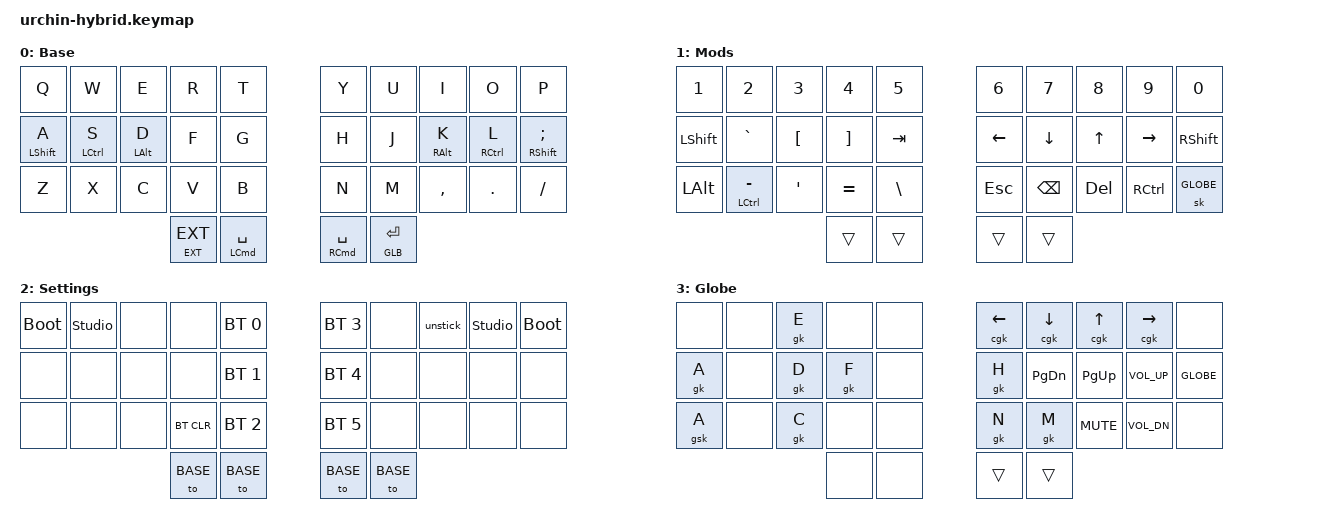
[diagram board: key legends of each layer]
/*
 * Hybrid Urchin + Voyager Keymap
 * Combines Urchin ZMK base with Voyager QMK combos and features
 *
 * Changes from original Urchin:
 * - Added Y+U = Backspace combo
 * - Added R+T = Tab combo
 * - Added F+G = Escape combo
 * - Added H+J = Enter combo
 * - Added GLOBE layer: Apple's documented Globe shortcuts as macros,
 *   reached by holding the right outer thumb
 * - Positional home-row mods so same-hand rolls can't fire modifiers
 */

#include <behaviors.dtsi>
#include <dt-bindings/zmk/keys.h>
#include <dt-bindings/zmk/bt.h>
#include <dt-bindings/zmk/outputs.h>

// Layer definitions
#define BASE 0
#define EXT 1
#define SETTINGS 2
// NB: not "GLOBE" -- that name is already the Apple Globe keycode in
// keys.h, and redefining it turns every &kp GLOBE into &kp 3.
#define GLB 3
// -----------------

// Key position groups, used for positional hold-taps.
//
//   0  1  2  3  4     5  6  7  8  9
//  10 11 12 13 14    15 16 17 18 19
//  20 21 22 23 24    25 26 27 28 29
//           30 31    32 33
//
#define KEYS_L 0 1 2 3 4 10 11 12 13 14 20 21 22 23 24
#define KEYS_R 5 6 7 8 9 15 16 17 18 19 25 26 27 28 29
#define THUMBS 30 31 32 33

&sk {
	// don't release mods on other mods presses
	ignore-modifiers;
};


/ {
	behaviors {
		// Enables holding the first mod-tap key
		// by performing a tap-release-hold sequence.
		// To use it: "&qt KEYCODE1 KEYCODE2"
		//
		// "balanced" + require-prior-idle-ms is deliberate: with the old
		// "hold-preferred" setting, rolling off a thumb into the next letter
		// (e.g. space -> W) resolved as a *hold* and fired CMD+W. Balanced only
		// resolves to hold when the other key is released first, and
		// require-prior-idle-ms forces a plain tap while you are mid-flow.
		qt: quick_tap {
			compatible = "zmk,behavior-hold-tap";
			label = "QUICK_TAP";
			#binding-cells = <2>;
			flavor = "balanced";
			tapping-term-ms = <200>;
			quick-tap-ms = <200>;
			require-prior-idle-ms = <125>;
			bindings = <&kp>, <&kp>;
		};

		// Globe key. Hold it for the Globe layer, tap it for ENTER.
		// "hold-preferred" and no require-prior-idle-ms: this key exists to be
		// chorded, so it must engage the layer the instant the next key goes
		// down. Rolling off ENTER into another key is rare enough to be worth it.
		glt: globe_layer_tap {
			compatible = "zmk,behavior-hold-tap";
			label = "GLOBE_LAYER_TAP";
			#binding-cells = <2>;
			flavor = "hold-preferred";
			tapping-term-ms = <200>;
			quick-tap-ms = <200>;
			bindings = <&mo>, <&kp>;
		};

		// Home-row mods, left hand. Only triggers the hold (modifier) when the
		// *next* key is on the other half or a thumb, so same-hand rolls like
		// "as" / "sd" can never turn into SHIFT+S / CTRL+D.
		// hold-trigger-on-release still lets you stack two same-hand mods
		// (e.g. A+S+<right hand key> = CTRL+SHIFT+key).
		hml: home_row_mod_left {
			compatible = "zmk,behavior-hold-tap";
			label = "HOME_ROW_MOD_LEFT";
			#binding-cells = <2>;
			flavor = "balanced";
			tapping-term-ms = <220>;
			quick-tap-ms = <175>;
			require-prior-idle-ms = <150>;
			hold-trigger-key-positions = <KEYS_R THUMBS>;
			hold-trigger-on-release;
			bindings = <&kp>, <&kp>;
		};

		// Home-row mods, right hand.
		hmr: home_row_mod_right {
			compatible = "zmk,behavior-hold-tap";
			label = "HOME_ROW_MOD_RIGHT";
			#binding-cells = <2>;
			flavor = "balanced";
			tapping-term-ms = <220>;
			quick-tap-ms = <175>;
			require-prior-idle-ms = <150>;
			hold-trigger-key-positions = <KEYS_L THUMBS>;
			hold-trigger-on-release;
			bindings = <&kp>, <&kp>;
		};

		// Hold = momentary layer, tap = toggle (lock) the layer.
		// NOTE: an isolated tap of this key locks the EXT layer on, which is the
		// usual cause of "I suddenly started typing numbers". If that bites you,
		// replace "&mo_tog EXT EXT" on the base layer with plain "&mo EXT" --
		// FN + left inner thumb (&tog EXT) still locks the layer deliberately.
		mo_tog: behavior_mo_tog {
            compatible = "zmk,behavior-hold-tap";
            #binding-cells = <2>;
            flavor = "hold-preferred";
            tapping-term-ms = <200>;
			quick-tap-ms = <200>;
            bindings = <&mo>, <&tog>;
        };
	};

	macros {
		// sometimes my device thinks a modifier is being held down
		// pressing all modifiers fixes it.
		unstick: unstick {
			label = "ZM_unstick";
			compatible = "zmk,behavior-macro";
			#binding-cells = <0>;
			bindings = <&kp LSHIFT &kp RSHIFT &kp LCTRL &kp RCTRL &kp LALT &kp RALT &kp LGUI &kp RGUI>;
		};

		// --- Globe chords, sent as a single keypress ---------------------------
		// ZMK has no Fn modifier and cannot hold GLOBE as one (it is consumer
		// usage 0x029D, not a HID modifier), so each Globe shortcut is emitted as
		// a macro that presses GLOBE, taps the key and releases GLOBE in order.
		// wait/tap of 30ms gives the host time to see the consumer report land
		// before the keyboard report arrives.

		// &gk X  ->  Globe + X
		gk: globe_key {
			compatible = "zmk,behavior-macro-one-param";
			label = "GLOBE_KEY";
			#binding-cells = <1>;
			wait-ms = <30>;
			tap-ms = <30>;
			bindings
				= <&macro_press &kp GLOBE>
				, <&macro_param_1to1>
				, <&macro_tap &kp MACRO_PLACEHOLDER>
				, <&macro_release &kp GLOBE>
				;
		};

		// &gsk X  ->  Globe + Shift + X
		gsk: globe_shift_key {
			compatible = "zmk,behavior-macro-one-param";
			label = "GLOBE_SHIFT_KEY";
			#binding-cells = <1>;
			wait-ms = <30>;
			tap-ms = <30>;
			bindings
				= <&macro_press &kp GLOBE &kp LSHIFT>
				, <&macro_param_1to1>
				, <&macro_tap &kp MACRO_PLACEHOLDER>
				, <&macro_release &kp LSHIFT &kp GLOBE>
				;
		};

		// &cgk X  ->  Control + Globe + X  (iPadOS window tiling)
		cgk: ctrl_globe_key {
			compatible = "zmk,behavior-macro-one-param";
			label = "CTRL_GLOBE_KEY";
			#binding-cells = <1>;
			wait-ms = <30>;
			tap-ms = <30>;
			bindings
				= <&macro_press &kp LCTRL &kp GLOBE>
				, <&macro_param_1to1>
				, <&macro_tap &kp MACRO_PLACEHOLDER>
				, <&macro_release &kp GLOBE &kp LCTRL>
				;
		};
	};

	combos {
		compatible = "zmk,combos";

		// Every combo below is pinned to "layers = <BASE>". Without that, ZMK
		// runs combos on whatever layer is active, so on the Mods layer typing
		// "45" fired TAB, "67" fired BACKSPACE, and left+down arrow fired ENTER.

		// Settings layer: hold Mods, tap positions 4+5 (the "5" and "6" keys),
		// then let go -- &tog latches the layer on, so both hands come free and
		// every key on it stays reachable. Any thumb returns you to base.
		// Pinned to EXT so it cannot fire from the base layer at all, and 4+5 is
		// a cross-hand pair, so no same-hand roll can produce it.
		combo_settings {
			timeout-ms = <50>;
			require-prior-idle-ms = <150>;
			layers = <EXT>;
			key-positions = <4 5>;
			bindings = <&tog SETTINGS>;
		};

		// VOYAGER COMBOS
		// Y + U = Backspace (common in typing flow)
		combo_bspc {
			timeout-ms = <50>;
			layers = <BASE>;
			key-positions = <5 6>;
			bindings = <&kp BSPC>;
		};

		// R + T = Tab
		combo_tab {
			timeout-ms = <50>;
			layers = <BASE>;
			key-positions = <3 4>;
			bindings = <&kp TAB>;
		};

		// F + G = Escape
		combo_esc {
			timeout-ms = <50>;
			layers = <BASE>;
			key-positions = <13 14>;
			bindings = <&kp ESC>;
		};

		// H + J = Enter
		combo_enter {
			timeout-ms = <50>;
			layers = <BASE>;
			key-positions = <15 16>;
			bindings = <&kp ENTER>;
		};
	};

	keymap {
		compatible = "zmk,keymap";

		// Base alpha layer
		default_layer {
			label = "Base";
			bindings = <
			&kp Q &kp W &kp E &kp R &kp T           &kp Y &kp U  &kp I     &kp O   &kp P
			&hml LSHIFT A &hml LCTRL S &hml LALT D &kp F &kp G           &kp H &kp J  &hmr RALT K &hmr RCTRL L &hmr RSHIFT SEMI
			&kp Z &kp X &kp C &kp V &kp B           &kp N &kp M  &kp COMMA &kp DOT &kp SLASH
							&mo_tog EXT EXT &qt LCMD SPACE           &qt RCMD SPACE &glt GLB ENTER
			>;
			// Right outer thumb: hold for the Globe layer, tap for ENTER.
			// Optional: full mod parity by putting CMD on the index fingers.
			// Swap "&kp F" for "&hml LGUI F" and "&kp J" for "&hmr RGUI J" if you
			// want CMD without using a thumb (handy for CMD+TAB on iPadOS).
		};

		// Numbers, brackets, navigation (EXT)
		ext_layer {
			label = "Mods";
			bindings = <
			&kp N1 &kp N2 &kp N3 &kp N4 &kp N5		                           			&kp N6 &kp N7 &kp N8 &kp N9 &kp N0
			&kp LSHIFT &kp GRAVE &kp LEFT_BRACKET &kp RIGHT_BRACKET &kp TAB  			&kp LEFT_ARROW &kp DOWN_ARROW &kp UP_ARROW &kp RIGHT_ARROW &kp RSHIFT
			&kp LEFT_ALT &qt LEFT_CONTROL MINUS &kp SINGLE_QUOTE &kp EQUAL &kp BACKSLASH 	&kp ESC &kp BACKSPACE &kp DELETE &kp RIGHT_CONTROL &sk GLOBE
																 &trans  &trans      &trans &trans
			>;
			// Sticky GLOBE replaces the old RIGHT_ALT: ALT for the right-hand arrow
			// cluster is better pressed with the left hand (LEFT_ALT, bottom row).
			// Sticky is the point -- tap it, release this layer, then tap a letter
			// on the base layer. That is the only way to chord Globe with a letter
			// without holding the base-layer Globe thumb.
			// CMD on this layer comes from the right thumb (&trans -> &qt RCMD SPACE),
			// e.g. CMD+LEFT / CMD+RIGHT for start/end of line on iOS.
		};

		// Settings layer
		settings_layer {
				label = "Settings";
				bindings = <
				&bootloader &studio_unlock &none &none       &bt BT_SEL 0               &bt BT_SEL 3 &none &unstick &studio_unlock &bootloader
				&none &none &none &none      &bt BT_SEL 1                          &bt BT_SEL 4 &none &none &none &none
				&none &none &none &bt BT_CLR &bt BT_SEL 2               &bt BT_SEL 5 &none &none &none &none
										&to BASE &to BASE                   &to BASE &to BASE
				>;
				// The layer is latched, not held, so all four thumbs are free --
				// every one of them is &to BASE. Any thumb gets you out, and &to
				// clears every other layer on the way, including a locked Mods.
				// BT_CLR sits at position 23 rather than 3, where it used to be
				// directly beside BT_SEL 0 and unpaired the active profile on a slip.
		};

		// Apple's documented Globe shortcuts, each on the letter it is named
		// after -- hold the Globe thumb and press the letter you would press on a
		// Magic Keyboard. Reached with one thumb from the base layer.
		globe_layer {
				label = "Globe";
				bindings = <
				&none &none &gk E &none &none                                   &cgk LEFT &cgk DOWN &cgk UP &cgk RIGHT &none
				&gk A &none &gk D &gk F &none                                   &gk H &kp PG_DN &kp PG_UP &kp C_VOL_UP &kp GLOBE
				&gsk A &none &gk C &none &none                                  &gk N &gk M &kp C_MUTE &kp C_VOL_DN &none
										&none &none                         &trans &trans
				>;
				// E emoji · A dock · shift-A app library · D dictation
				// F full screen · C control centre · H home · N lock screen
				// M menu bar · GLOBE on its own switches keyboard
				// Top right: control-Globe-arrow tiles the window to that half.
				// PG_UP / PG_DN sit on the same columns as UP / DOWN on the Mods
				// layer; they are the only two keys the old Sym layer had that
				// were not reachable as shift + something on Mods.
		};
	};
};
